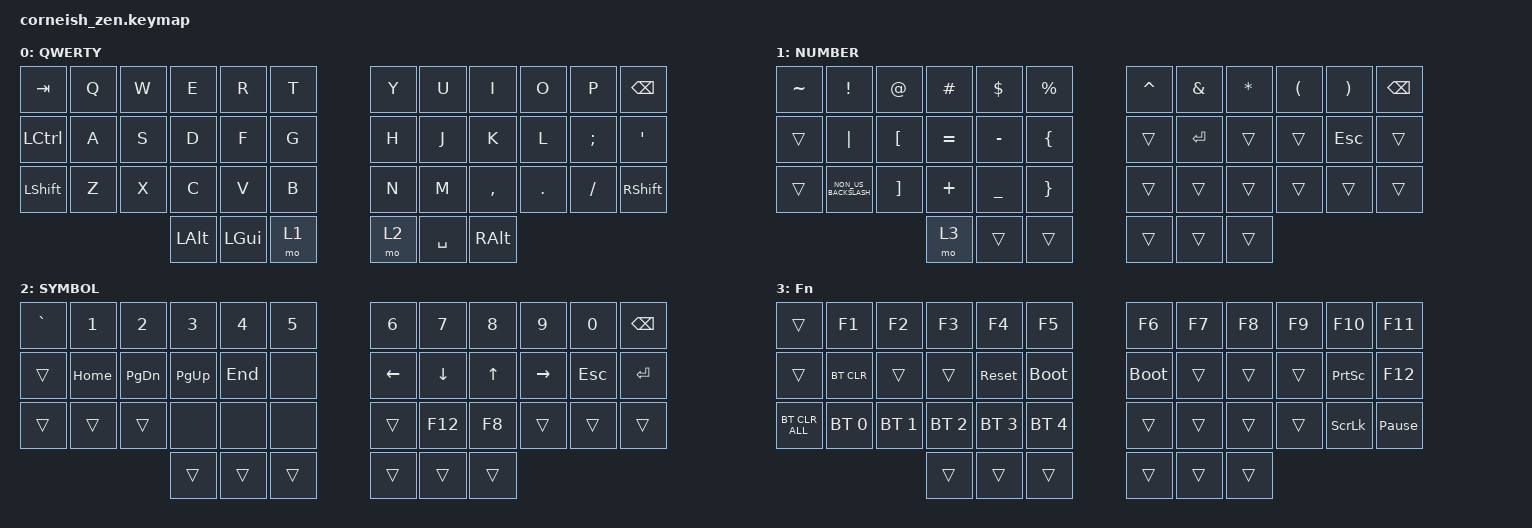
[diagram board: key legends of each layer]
/*
 * Copyright (c) 2020 The ZMK Contributors
 *
 * SPDX-License-Identifier: MIT
 */

#include <behaviors.dtsi>
#include <dt-bindings/zmk/bt.h>
#include <dt-bindings/zmk/keys.h>

/ {
    chosen {
        zmk,matrix_transform = &default_transform;

        // zmk,matrix_transform = &five_column_transform;
    };
};

/ {
    behaviors {
        td0: td0 {
            compatible = "zmk,behavior-tap-dance";
            label = "TD0";
            #binding-cells = <0>;
            bindings = <&kp LEFT_SHIFT>, <&kp CAPS>;
        };
    };

    keymap {
        compatible = "zmk,keymap";

        default_layer {
            display-name = "QWERTY";

            // --------------------------------------------------------------------------------
            // |  TAB |  Q  |  W  |  E  |  R  |  T  |   |  Y  |  U   |  I  |  O  |  P  | BKSP |
            // | CTRL |  A  |  S  |  D  |  F  |  G  |   |  H  |  J   |  K  |  L  |  ;  |  '   | 
            // | SHFT |  Z  |  X  |  C  |  V  |  B  |   |  N  |  M   |  ,  |  .  |  /  | ESC  |
            //                    | GUI | LWR | SPC |   | ENT | RSE  | ALT |

            bindings = <
&kp TAB         &kp Q  &kp W  &kp E         &kp R     &kp T    &kp Y  &kp U      &kp I      &kp O    &kp P     &kp BSPC
&kp LCTRL       &kp A  &kp S  &kp D         &kp F     &kp G    &kp H  &kp J      &kp K      &kp L    &kp SEMI  &kp SQT
&kp LEFT_SHIFT  &kp Z  &kp X  &kp C         &kp V     &kp B    &kp N  &kp M      &kp COMMA  &kp DOT  &kp FSLH  &kp RSHIFT
                              &kp LEFT_ALT  &kp LGUI  &mo 1    &mo 2  &kp SPACE  &kp RALT
            >;
        };

        lower_layer {
            display-name = "NUMBER";

            // -----------------------------------------------------------------------------------------
            // |  TAB |  1  |  2  |  3  |  4  |  5  |   |  6  |  7  |  8  |  9  |  0  | BKSP |
            // | BTCLR| BT1 | BT2 | BT3 | BT4 | BT5 |   | LFT | DWN |  UP | RGT |     |      |
            // | SHFT |     |     |     |     |     |   |     |     |     |     |     |      |
            //                    | GUI |     | SPC |   | ENT |     | ALT |

            bindings = <
&kp TILDE  &kp EXCLAMATION       &kp AT_SIGN        &kp HASH   &kp DOLLAR      &kp PERCENT        &kp CARET  &kp AMPERSAND  &kp ASTERISK  &kp LEFT_PARENTHESIS  &kp RIGHT_PARENTHESIS  &kp BSPC
&trans     &kp PIPE              &kp LEFT_BRACKET   &kp EQUAL  &kp MINUS       &kp LEFT_BRACE     &trans     &kp ENTER      &trans        &trans                &kp ESCAPE             &trans
&trans     &kp NON_US_BACKSLASH  &kp RIGHT_BRACKET  &kp PLUS   &kp UNDERSCORE  &kp RIGHT_BRACE    &trans     &trans         &trans        &trans                &trans                 &trans
                                                    &mo 3      &trans          &trans             &trans     &trans         &trans
            >;
        };

        raise_layer {
            display-name = "SYMBOL";

            // -----------------------------------------------------------------------------------------
            // |  TAB |  !  |  @  |  #  |  $  |  %  |   |  ^  |  &  |  *  |  (  |  )  | BKSP |
            // | CTRL |     |     |     |     |     |   |  -  |  =  |  [  |  ]  |  \  |  `   |
            // | SHFT |     |     |     |     |     |   |  _  |  +  |  {  |  }  | "|" |  ~   |
            //                    | GUI |     | SPC |   | ENT |     | ALT |

            bindings = <
&kp GRAVE  &kp NUMBER_1  &kp NUMBER_2   &kp NUMBER_3  &kp NUMBER_4  &kp N5    &kp NUMBER_6    &kp N7          &kp N8        &kp N9           &kp N0      &kp BSPC
&trans     &kp HOME      &kp PAGE_DOWN  &kp PAGE_UP   &kp END       &none     &kp LEFT_ARROW  &kp DOWN_ARROW  &kp UP_ARROW  &kp RIGHT_ARROW  &kp ESCAPE  &kp ENTER
&trans     &trans        &trans         &none         &none         &none     &trans          &kp F12         &kp F8        &trans           &trans      &trans
                                        &trans        &trans        &trans    &trans          &trans          &trans
            >;
        };

        layer_3 {
            display-name = "Fn";
            bindings = <
&trans          &kp F1        &kp F2        &kp F3        &kp F4        &kp F5          &kp F6       &kp F7  &kp F8  &kp F9  &kp F10          &kp F11
&trans          &bt BT_CLR    &trans        &trans        &sys_reset    &bootloader     &bootloader  &trans  &trans  &trans  &kp PRINTSCREEN  &kp F12
&bt BT_CLR_ALL  &bt BT_SEL 0  &bt BT_SEL 1  &bt BT_SEL 2  &bt BT_SEL 3  &bt BT_SEL 4    &trans       &trans  &trans  &trans  &kp SCROLLLOCK   &kp PAUSE_BREAK
                                            &trans        &trans        &trans          &trans       &trans  &trans
            >;
        };
    };
};
